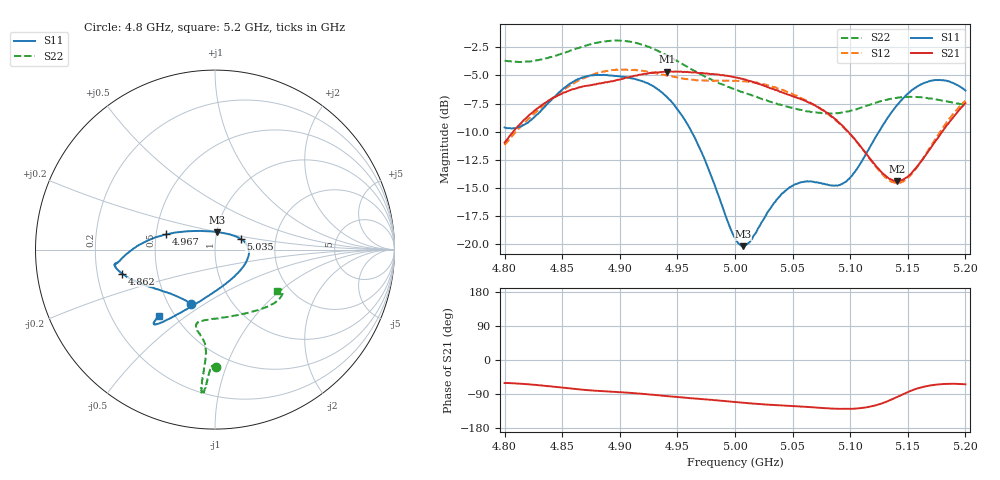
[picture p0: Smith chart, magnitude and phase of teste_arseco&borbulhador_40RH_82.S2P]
! Network Analyzer HP8722D
! Hewlett-Packard
! Data name: Linha & Wilkinson
! Saver's name: Rodrigo Anjos
! Comments: Teste da utilização de aquisição
! continua pelo VNA HP8722D
! Time and date: 15/4/2025 17:02
!  Frequency  S11  S21  S12  S22
# HZ  S  MA R 50
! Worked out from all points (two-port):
!   401 points, 4.8 GHz to 5.2 GHz, reference 50 ohm
!   highest |S21| = -4.65 dB at 4.941 GHz (marker M1); lowest = -14.4 dB at 5.141 GHz (marker M2)
!   |S21| within 3 dB of the highest: 4.832 GHz to 5.069 GHz (237 MHz wide, 4.79 % of centre); 5.198358 GHz to end of sweep
!   lowest |S11| = -20.2 dB at 5.007 GHz (marker M3), VSWR 1.22, Z = 50.2 + j9.88 ohm
!   |S11| at or under -10 dB: 4.962 GHz to 5.125 GHz (162.6 MHz wide, 3.22 % of centre)
!   |S22| runs from -8.4 to -1.9 dB; largest |S21 - S12| = 0.88
!   S11 on the Smith chart (normalised r, x): 4.8 GHz: 0.65, -0.44; 4.862 GHz: 0.31, -0.11; 4.967 GHz: 0.57, +0.11; 5.035 GHz: 1.32, +0.16; 5.2 GHz: 0.41, -0.40
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4.8e9  0.3306 -113.8  0.2827 -60.8  0.2761 -175.0  0.6545 -89.5
4.819e9  0.3449 -133.5  0.3643 -63.7  0.3528 -173.4  0.6491 -91.2
4.862e9  0.5365 -165.6  0.4932 -76.7  0.5265 -176.3  0.7403 -93.4
4.867e9  0.55 -167.6  0.5016 -78.2  0.5417 -177.3  0.7541 -93.8
4.9e9  0.5579 -172.0  0.5396 -85.1  0.5977 175.8  0.8033 -95.1
4.934e9  0.4844 -177.8  0.5803 -93.3  0.573 172.0  0.7187 -95.6
4.941e9  0.4507 178.9  0.5857 -95.1  0.5619 172.0  0.692 -95.4
4.955e9  0.3665 171.3  0.582 -99.2  0.545 172.8  0.6299 -95.0
4.967e9  0.2837 162.5  0.5779 -101.9  0.5352 174.1  0.5804 -94.8
5e9  0.1065 107.1  0.5524 -111.0  0.5335 176.5  0.4877 -99.3
5.007e9  0.09811 83.2  0.5421 -112.6  0.5292 176.5  0.4736 -101.0
5.014e9  0.1044 60.9  0.5298 -114.6  0.5263 176.4  0.461 -102.5
5.035e9  0.1544 22.9  0.4846 -119.1  0.4981 175.0  0.4232 -103.8
5.05e9  0.1819 7.1  0.4547 -121.6  0.4661 174.5  0.4043 -100.4
5.067e9  0.19 -11.4  0.4201 -124.7  0.4212 174.0  0.3868 -92.1
5.087e9  0.1825 -43.9  0.3595 -128.7  0.3576 173.9  0.3817 -76.9
5.097e9  0.1909 -65.0  0.3209 -129.0  0.3192 174.5  0.3887 -68.4
5.134e9  0.3734 -116.1  0.1952 -106.7  0.1921 -159.6  0.4417 -43.4
5.141e9  0.4167 -120.1  0.191 -96.9  0.1873 -148.6  0.4481 -40.2
5.153e9  0.482 -124.9  0.2066 -80.9  0.2046 -130.0  0.4517 -35.9
5.17e9  0.5327 -128.6  0.2679 -66.8  0.273 -112.9  0.4446 -32.1
5.2e9  0.4826 -130.3  0.4232 -64.0  0.4346 -106.1  0.4155 -33.4
